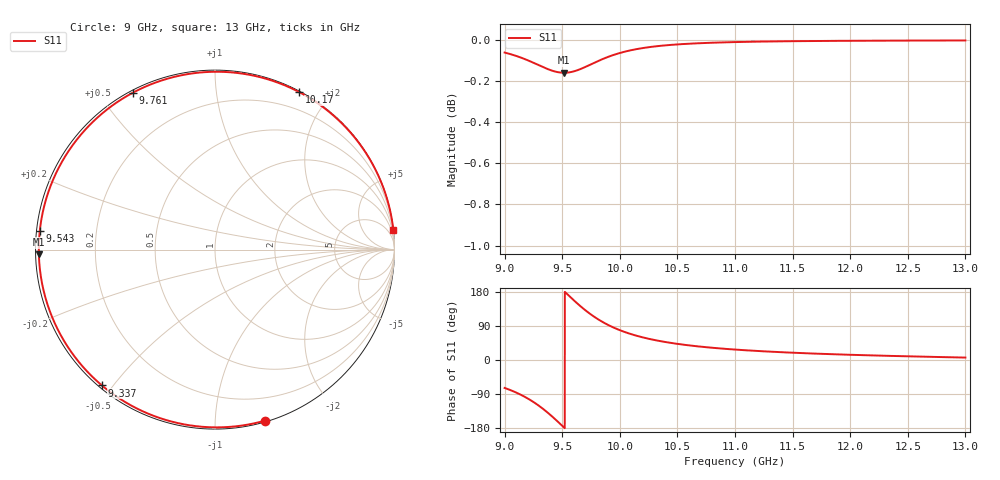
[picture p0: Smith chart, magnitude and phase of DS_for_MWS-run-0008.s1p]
! TOUCHSTONE file generated by CST DESIGN STUDIO
! Date and time: Tue Feb  4 17:28:50 2025
! Project name: C:\Work\MatlabApps\UnitCellOptimizationMatlab\CST\unitcell.cst
! Tree item: Tasks\Sweep1\SPara1\S-Parameters
! Header version: 2024
! Port assignment regex: !\s*Touchstone port\s*([0-9]+)\s*=\s*(CST MWS port|CST DES external port|CST DES block port)\s*(.+)\s* \(\"(.*)\"\)(\s*mode\s*([0-9]+))?.*
! Touchstone port assignment:
! Touchstone port 1 = CST DES external port 1 ("")
# GHz S MA R 50
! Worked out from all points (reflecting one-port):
!   4001 points, 9 GHz to 13 GHz, reference 50 ohm
!   lowest |S11| = -0.2 dB at 9.517 GHz (marker M1), VSWR 108.37, Z = 0.461 - j0.653 ohm
!   phase of S11 starts at -74 deg and turns -280 deg over the sweep
!   S11 on the Smith chart (normalised r, x): 9 GHz: 0.01, -1.33; 9.337 GHz: 0.01, -0.47; 9.543 GHz: 0.01, +0.05; 9.761 GHz: 0.01, +0.61; 10.17 GHz: 0.01, +1.67; 13 GHz: 0, +18
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9  0.9929 -73.7
9.091  0.9912 -84.6
9.196  0.9887 -100.7
9.27  0.9867 -114.8
9.337  0.9847 -129.8
9.381  0.9836 -140.7
9.427  0.9826 -152.9
9.464  0.982 -163.3
9.5  0.9817 -173.6
9.517  0.9817 -178.5
9.543  0.9818 174.0
9.597  0.9824 158.6
9.658  0.9837 142.1
9.709  0.9852 129.4
9.761  0.9867 117.6
9.811  0.9882 107.5
9.866  0.9897 97.7
10  0.9926 78.7
10.083  0.994 69.7
10.172  0.9951 61.8
10.322  0.9964 51.5
10.5  0.9974 42.6
10.722  0.9982 34.6
11  0.9987 27.5
11.5  0.9992 19.2
12  0.9994 13.8
12.5  0.9996 9.7
13  0.9996 6.4
